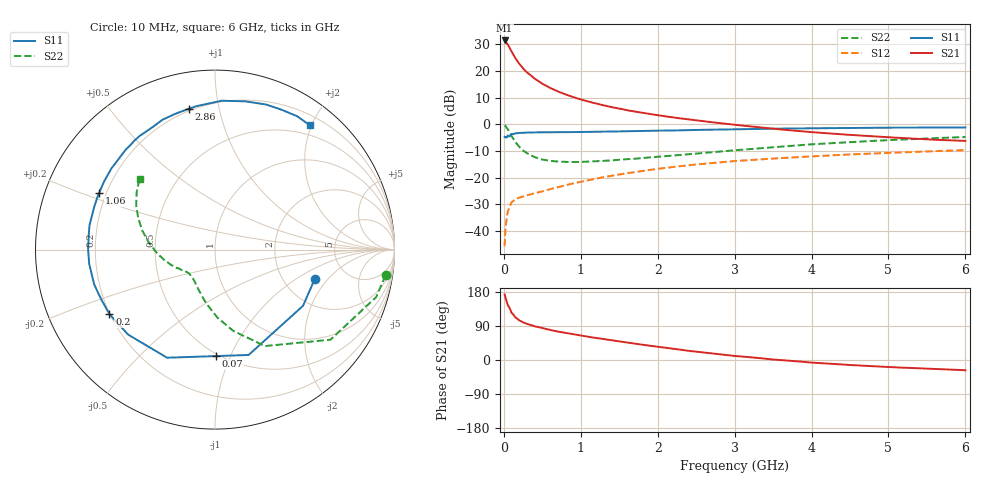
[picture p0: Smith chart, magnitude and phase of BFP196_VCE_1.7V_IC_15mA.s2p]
! Infineon Technologies  Discrete & RF Semiconductors
! BFP196
! VCE = 1.7 V,  IC =  15mA
! Common Emitter S-Parameters:  Jan 2016
# GHz  S  MA  R  50
!  f  S11  S21  S12  S22
! GHz  MAG  ANG  MAG  ANG  MAG  ANG  MAG  ANG
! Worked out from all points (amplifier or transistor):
!   210 points, 10 MHz to 6 GHz, reference 50 ohm
!   highest |S21| = 31.4 dB at 10 MHz (marker M1)
!   |S21| within 3 dB of that: start of sweep to 78.33 MHz
!   unconditionally stable (mu >= 1): 740.1 MHz to 3.48 GHz; 3.547 GHz to 3.932 GHz
!   at 185 MHz: K = 0.41, MSG = 25.5 dB, |S12| = -27.7 dB
!   at 1.52 GHz: K = 1.13, MAG = 10.1 dB, |S12| = -18.7 dB
!   at 6 GHz: K = 0.99, MSG = 1.7 dB, |S12| = -9.7 dB
!   S11 on the Smith chart (normalised r, x): 10 MHz: 2.94, -1.47; 70 MHz: 0.48, -0.88; 200 MHz: 0.20, -0.27; 1.06 GHz: 0.17, +0.23; 2.86 GHz: 0.19, +0.81; 6 GHz: 0.34, +1.97
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0.01  0.5793 -16.7  37.15 173.1  0.0052 84.2  0.9609 -8.6
0.02  0.5818 -32.6  35.97 164.7  0.0103 77.5  0.9357 -16.5
0.05  0.6162 -72.3  31.5 145.7  0.0229 61.2  0.8157 -38.0
0.07  0.5932 -89.5  27.73 138.8  0.0273 53.5  0.7164 -46.1
0.1  0.6589 -113.9  23.11 124.7  0.0344 45.8  0.6048 -62.7
0.15  0.6774 -135.7  17.24 112.4  0.0393 39.5  0.4647 -77.3
0.2  0.6894 -148.6  13.63 104.6  0.0421 37.1  0.3793 -87.9
0.26  0.6937 -158.7  10.73 98.4  0.0448 36.8  0.3152 -97.0
0.3  0.7005 -164.0  9.377 95.1  0.0466 37.4  0.2881 -102.0
0.4  0.7054 -173.6  7.161 89.0  0.051 39.4  0.2424 -112.1
0.5  0.7069 -180.0  5.74 84.0  0.0552 41.3  0.2184 -119.3
0.6  0.7081 174.0  4.806 79.3  0.0606 43.4  0.2065 -124.6
0.7  0.7123 168.9  4.138 75.0  0.0659 45.3  0.2002 -129.1
1.02  0.7177 155.4  2.863 63.9  0.0848 48.2  0.1974 -138.7
1.06  0.7187 153.9  2.759 62.6  0.0871 48.3  0.1987 -139.6
1.4  0.7334 141.8  2.093 52.0  0.1079 48.3  0.2104 -145.9
2.02  0.7598 123.0  1.462 34.4  0.1474 44.3  0.2468 -157.9
2.86  0.7981 100.6  1.03 13.9  0.1964 35.6  0.313 -174.4
3.1  0.8088 95.4  0.944 9.1  0.2088 32.6  0.3341 -179.0
4.1  0.8447 76.8  0.695 -8.0  0.2545 21.3  0.4293 163.3
5.1  0.8645 63.1  0.56 -19.5  0.2949 10.1  0.5116 149.0
6  0.8711 52.7  0.488 -27.0  0.328 -0.2  0.5766 136.8
